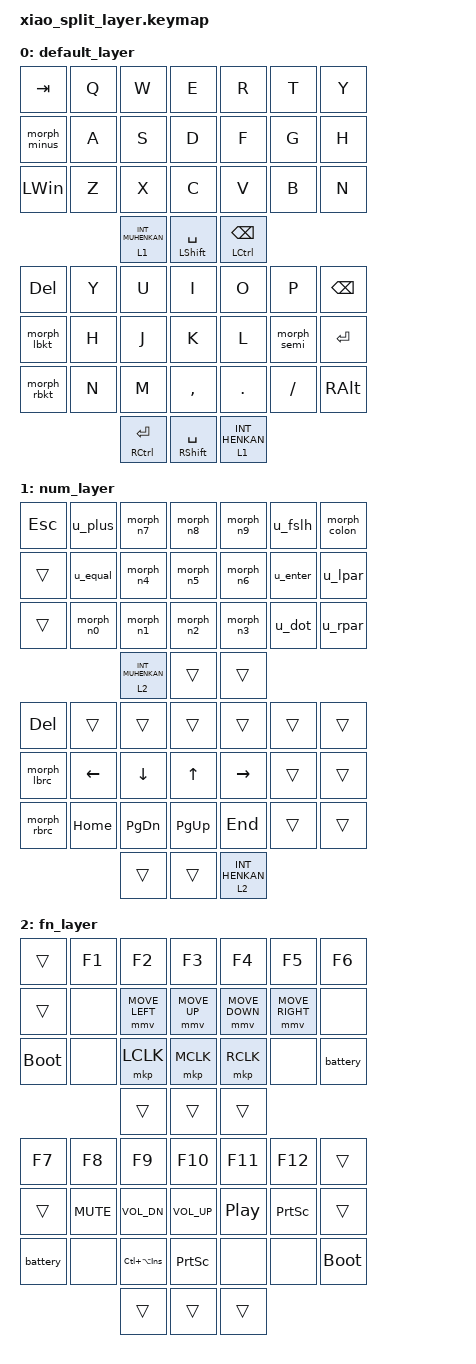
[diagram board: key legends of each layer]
#include <behaviors.dtsi>
#include <dt-bindings/zmk/keys.h>
#include <dt-bindings/zmk/mouse.h>

/ {
    behaviors {

        /* ---------------- numbers ---------------- */

        morph_n0: morph_n0 { /* 0 ) */
            compatible = "zmk,behavior-mod-morph";
            label = "morph_N0";
            #binding-cells = <0>;
            bindings = <&kp N0>, <&kp LS(N9)>;
            mods = <(MOD_LSFT | MOD_RSFT)>;
        };

        morph_n1: morph_n1 {
            compatible = "zmk,behavior-mod-morph";
            label = "morph_N1";
            #binding-cells = <0>;
            bindings = <&kp N1>, <&kp LS(N1)>;
            mods = <(MOD_LSFT | MOD_RSFT)>;
        };

        morph_n2: morph_n2 { /* 2 @ */
            compatible = "zmk,behavior-mod-morph";
            label = "morph_N2";
            #binding-cells = <0>;
            bindings = <&kp N2>, <&kp LBKT>;
            mods = <(MOD_LSFT | MOD_RSFT)>;
        };

        morph_n3: morph_n3 {
            compatible = "zmk,behavior-mod-morph";
            label = "morph_N3";
            #binding-cells = <0>;
            bindings = <&kp N3>, <&kp LS(N3)>;
            mods = <(MOD_LSFT | MOD_RSFT)>;
        };

        morph_n4: morph_n4 {
            compatible = "zmk,behavior-mod-morph";
            label = "morph_N4";
            #binding-cells = <0>;
            bindings = <&kp N4>, <&kp LS(N4)>;
            mods = <(MOD_LSFT | MOD_RSFT)>;
        };

        morph_n5: morph_n5 {
            compatible = "zmk,behavior-mod-morph";
            label = "morph_N5";
            #binding-cells = <0>;
            bindings = <&kp N5>, <&kp LS(N5)>;
            mods = <(MOD_LSFT | MOD_RSFT)>;
        };

        morph_n6: morph_n6 { /* 6 ^ */
            compatible = "zmk,behavior-mod-morph";
            label = "morph_N6";
            #binding-cells = <0>;
            bindings = <&kp N6>, <&kp EQUAL>;
            mods = <(MOD_LSFT | MOD_RSFT)>;
        };

        morph_n7: morph_n7 { /* 7 & */
            compatible = "zmk,behavior-mod-morph";
            label = "morph_N7";
            #binding-cells = <0>;
            bindings = <&kp N7>, <&kp LS(N6)>;
            mods = <(MOD_LSFT | MOD_RSFT)>;
        };

        morph_n8: morph_n8 { /* 8 * */
            compatible = "zmk,behavior-mod-morph";
            label = "morph_N8";
            #binding-cells = <0>;
            bindings = <&kp N8>, <&kp LS(APOS)>;
            mods = <(MOD_LSFT | MOD_RSFT)>;
        };

        morph_n9: morph_n9 { /* 9 ( */
            compatible = "zmk,behavior-mod-morph";
            label = "morph_N9";
            #binding-cells = <0>;
            bindings = <&kp N9>, <&kp LS(N8)>;
            mods = <(MOD_LSFT | MOD_RSFT)>;
        };

        /* ---------------- symbols ---------------- */

        morph_minus: morph_minus { /* - _ */
            compatible = "zmk,behavior-mod-morph";
            label = "morph_MINUS";
            #binding-cells = <0>;
            bindings = <&kp MINUS>, <&kp LS(INT_RO)>;
            mods = <(MOD_LSFT | MOD_RSFT)>;
        };

        morph_lbkt: morph_lbkt { /* [ { */
            compatible = "zmk,behavior-mod-morph";
            label = "morph_LBKT";
            #binding-cells = <0>;
            bindings = <&kp RBKT>, <&kp LS(RBKT)>;
            mods = <(MOD_LSFT | MOD_RSFT)>;
        };

        morph_rbkt: morph_rbkt { /* ] } */
            compatible = "zmk,behavior-mod-morph";
            label = "morph_RBKT";
            #binding-cells = <0>;
            bindings = <&kp BSLH>, <&kp LS(BSLH)>;
            mods = <(MOD_LSFT | MOD_RSFT)>;
        };

        morph_semi: morph_semi { /* ; : */
            compatible = "zmk,behavior-mod-morph";
            label = "morph_SEMI";
            #binding-cells = <0>;
            bindings = <&kp SEMI>, <&kp APOS>;
            mods = <(MOD_LSFT | MOD_RSFT)>;
        };

        morph_colon: morph_colon { /* : */
            compatible = "zmk,behavior-mod-morph";
            label = "morph_COLON";
            #binding-cells = <0>;
            bindings = <&kp APOS>, <&kp APOS>;
            mods = <(MOD_LSFT | MOD_RSFT)>;
        };

        morph_lbrc: morph_lbrc { /* { */
            compatible = "zmk,behavior-mod-morph";
            label = "morph_LBRC";
            #binding-cells = <0>;
            bindings = <&kp LS(RBKT)>, <&kp LS(RBKT)>;
            mods = <(MOD_LSFT | MOD_RSFT)>;
        };

        morph_rbrc: morph_rbrc { /* } */
            compatible = "zmk,behavior-mod-morph";
            label = "morph_RBRC";
            #binding-cells = <0>;
            bindings = <&kp LS(BSLH)>, <&kp LS(BSLH)>;
            mods = <(MOD_LSFT | MOD_RSFT)>;
        };

        /* ---------------- unique ---------------- */

        u_equal: u_equal { /* = ` */
            compatible = "zmk,behavior-mod-morph";
            label = "u_EQUAL";
            #binding-cells = <0>;
            bindings = <&kp LS(MINUS)>, <&kp LS(LBKT)>;
            mods = <(MOD_LSFT | MOD_RSFT)>;
        };

        u_plus: u_plus { /* + ~ */
            compatible = "zmk,behavior-mod-morph";
            label = "u_PLUS";
            #binding-cells = <0>;
            bindings = <&kp LS(SEMI)>, <&kp LS(EQUAL)>;
            mods = <(MOD_LSFT | MOD_RSFT)>;
        };

        u_fslh: u_fslh { /* / ) */
            compatible = "zmk,behavior-mod-morph";
            label = "u_FSLH";
            #binding-cells = <0>;
            bindings = <&kp FSLH>, <&kp LS(N9)>;
            mods = <(MOD_LSFT | MOD_RSFT)>;
        };

        u_enter: u_enter { /* ENTER " */
            compatible = "zmk,behavior-mod-morph";
            label = "u_ENTER";
            #binding-cells = <0>;
            bindings = <&kp ENTER>, <&kp LS(N2)>;
            mods = <(MOD_LSFT | MOD_RSFT)>;
        };

        u_dot: u_dot { /* . ' */
            compatible = "zmk,behavior-mod-morph";
            label = "u_DOT";
            #binding-cells = <0>;
            bindings = <&kp DOT>, <&kp LS(N7)>;
            mods = <(MOD_LSFT | MOD_RSFT)>;
        };

        u_lpar: u_lpar { /* ( | */
            compatible = "zmk,behavior-mod-morph";
            label = "u_LPAR";
            #binding-cells = <0>;
            bindings = <&kp LS(N8)>, <&kp LS(INT_YEN)>;
            mods = <(MOD_LSFT | MOD_RSFT)>;
        };

        u_rpar: u_rpar { /* ) \ */
            compatible = "zmk,behavior-mod-morph";
            label = "u_RPAR";
            #binding-cells = <0>;
            bindings = <&kp LS(N9)>, <&kp INT_YEN>;
            mods = <(MOD_LSFT | MOD_RSFT)>;
        };

        /* ---------------- battery ---------------- */

        battery: battery {
            compatible = "zmk,behavior-battery";
            label = "BATTERY";
            #binding-cells = <0>;
            bindings = <>;
        };
    };

    keymap {
        compatible = "zmk,keymap";

        default_layer {
            bindings = <
                &kp TAB      &kp Q &kp W &kp E &kp R &kp T &kp Y
                &morph_minus &kp A &kp S &kp D &kp F &kp G &kp H
                &kp LWIN     &kp Z &kp X &kp C &kp V &kp B &kp N
                    &lt 1 INT_MUHENKAN &mt LSHFT SPACE &mt LCTRL BSPC

                &kp DEL     &kp Y &kp U &kp I     &kp O   &kp P       &kp BSPC
                &morph_lbkt &kp H &kp J &kp K     &kp L   &morph_semi &kp ENTER
                &morph_rbkt &kp N &kp M &kp COMMA &kp DOT &kp FSLH    &kp RALT
                &mt RCTRL ENTER &mt RSHFT SPACE &lt 1 INT_HENKAN
            >;
        };

        num_layer {
            bindings = <
                &kp ESC &u_plus   &morph_n7 &morph_n8 &morph_n9 &u_fslh  &morph_colon
                &trans  &u_equal  &morph_n4 &morph_n5 &morph_n6 &u_enter &u_lpar
                &trans  &morph_n0 &morph_n1 &morph_n2 &morph_n3 &u_dot   &u_rpar
                    &lt 2 INT_MUHENKAN &trans &trans

                &kp DEL     &trans   &trans    &trans    &trans    &trans &trans
                &morph_lbrc &kp LEFT &kp DOWN  &kp UP    &kp RIGHT &trans &trans
                &morph_rbrc &kp HOME &kp PG_DN &kp PG_UP &kp END   &trans &trans
                &trans &trans &lt 2 INT_HENKAN
            >;
        };

        fn_layer {
            bindings = <
                &trans      &kp F1 &kp F2         &kp F3       &kp F4         &kp F5          &kp F6
                &trans      &none  &mmv MOVE_LEFT &mmv MOVE_UP &mmv MOVE_DOWN &mmv MOVE_RIGHT &none
                &bootloader &none  &mkp LCLK      &mkp MCLK    &mkp RCLK      &none           &battery
                    &trans &trans &trans

                &kp F7   &kp F8     &kp F9          &kp F10      &kp F11          &kp F12   &trans
                &trans   &kp C_MUTE &kp C_VOL_DN    &kp C_VOL_UP &kp C_PLAY_PAUSE &kp PSCRN &trans
                &battery &none      &kp LC(LA(INS)) &kp PSCRN    &none            &none     &bootloader
                &trans &trans &trans
            >;
        };
    };
};
